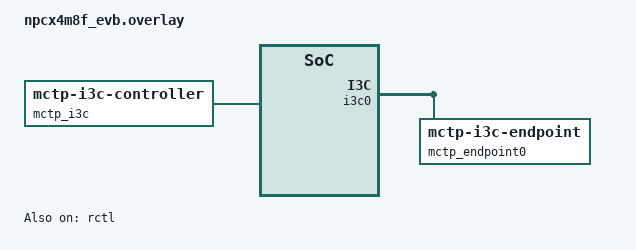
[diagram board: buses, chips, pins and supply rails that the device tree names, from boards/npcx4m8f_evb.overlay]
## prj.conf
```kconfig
# nothing here
CONFIG_I3C=y
CONFIG_MCTP=y
CONFIG_MCTP_I3C_CONTROLLER=y
CONFIG_MCTP_LOG_LEVEL_DBG=y
CONFIG_I3C_LOG_LEVEL_DBG=y
CONFIG_LOG=y
CONFIG_LOG_BUFFER_SIZE=4096
```

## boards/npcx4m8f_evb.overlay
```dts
&rctl {
	status = "okay";
};

&i3c0 {
	status = "okay";
	i3c-scl-hz = <7500000>;
	i3c-od-scl-hz = <1500000>;

	bcr = <0x67>;

	mctp_endpoint0: mctp_endpoint0@20b00000011 {
		compatible = "zephyr,mctp-i3c-endpoint";
		reg = <0x0000 0x020a 0x00000011>;
		status = "okay";
	};
};

&pcc {
	clock-frequency = <DT_FREQ_M(90)>; /* OFMCLK runs at 90MHz */
	core-prescaler = <3>; /* CORE_CLK runs at 30MHz */
	apb1-prescaler = <6>; /* APB1_CLK runs at 15MHz */
	apb2-prescaler = <6>; /* APB2_CLK runs at 15MHz */
	apb3-prescaler = <6>; /* APB3_CLK runs at 15MHz */
	apb4-prescaler = <3>; /* APB4_CLK runs at 30MHz */
};

/ {
	mctp_i3c: mctp_i3c {
		compatible = "zephyr,mctp-i3c-controller";
		endpoints = <&mctp_endpoint0>;
		endpoint-ids = [70];
	};
};
```

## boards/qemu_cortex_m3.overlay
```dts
/ {
	test_fixed_clk: test-fixed-clock {
		compatible = "fixed-clock";
		clock-frequency = <200000000>;
		#clock-cells = <0>;
	};

	i3c0: i3c@88888888 {
		compatible = "cdns,i3c";
		#address-cells = <3>;
		#size-cells = <0>;
		reg = <0x88888888 0x400>;
		interrupt-parent = <&nvic>;
		interrupts = <4 1>;
		input-clock-frequency = <200000000>;
		i3c-scl-hz = <12500000>;
		i2c-scl-hz = <400000>;
	};

	i3c1: i3c@cccccccc {
		compatible = "snps,designware-i3c";
		#address-cells = <3>;
		#size-cells = <0>;
		reg = <0xcccccccc 0x400>;
		interrupt-parent = <&nvic>;
		interrupts = <8 1>;
		clocks = <&test_fixed_clk>;
		i3c-scl-hz = <12500000>;
		i2c-scl-hz = <400000>;

		mctp_endpoint0: mctp_endpoint0@00ABCD00000011 {
			compatible = "zephyr,mctp-i3c-endpoint";
			reg = <0x00 0xABCD 0x00000011>;
			status = "okay";
		};
	};

	mctp_i3c: mctp_i3c {
		compatible = "zephyr,mctp-i3c-controller";
		endpoints = <&mctp_endpoint0>;
	};
};
```

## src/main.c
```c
/*
 * Copyright (c) 2025 Intel Corporation
 *
 * SPDX-License-Identifier: Apache-2.0
 */

#include <stdlib.h>
#include <stdio.h>
#include <assert.h>
#include <zephyr/types.h>
#include <zephyr/kernel.h>
#include <libmctp.h>
#include <zephyr/pmci/mctp/mctp_i3c_controller.h>

#include <zephyr/logging/log.h>
LOG_MODULE_REGISTER(mctp_i3c_bus_owner);

#define LOCAL_EID 20

MCTP_I3C_CONTROLLER_DT_DEFINE(mctp_i3c_ctrl, DT_NODELABEL(mctp_i3c));


static void rx_message(uint8_t eid, bool tag_owner, uint8_t msg_tag, void *data, void *msg,
		       size_t len)
{
	LOG_INF("Received message \"%s\" from endpoint %d to %d, msg_tag %d, len %zu", (char *)msg,
		eid, LOCAL_EID, msg_tag, len);
}

int main(void)
{
	int rc;
	struct mctp *mctp_ctx;

	LOG_INF("MCTP Host EID:%d on %s\n", LOCAL_EID, CONFIG_BOARD_TARGET);

	mctp_ctx = mctp_init();
	__ASSERT_NO_MSG(mctp_ctx != NULL);
	mctp_register_bus(mctp_ctx, &mctp_i3c_ctrl.binding, LOCAL_EID);
	mctp_set_rx_all(mctp_ctx, rx_message, NULL);

	while (true) {
		for (int i = 0; i < mctp_i3c_ctrl.num_endpoints; i++) {
			LOG_INF("Sending message \"ping\" to endpoint %u",
				mctp_i3c_ctrl.endpoint_ids[i]);

			rc = mctp_message_tx(mctp_ctx, mctp_i3c_ctrl.endpoint_ids[i], false,
					0, "ping", sizeof("ping"));
			if (rc != 0) {
				LOG_WRN("Failed to send message \"ping\" to i3c pid %llu, "
					"endpoint %u, errno %d\n",
					mctp_i3c_ctrl.endpoint_i3c_devs[i]->pid,
					mctp_i3c_ctrl.endpoint_ids[i], rc);
			}
			k_msleep(1000);
		}
	}

	return 0;
}
```
